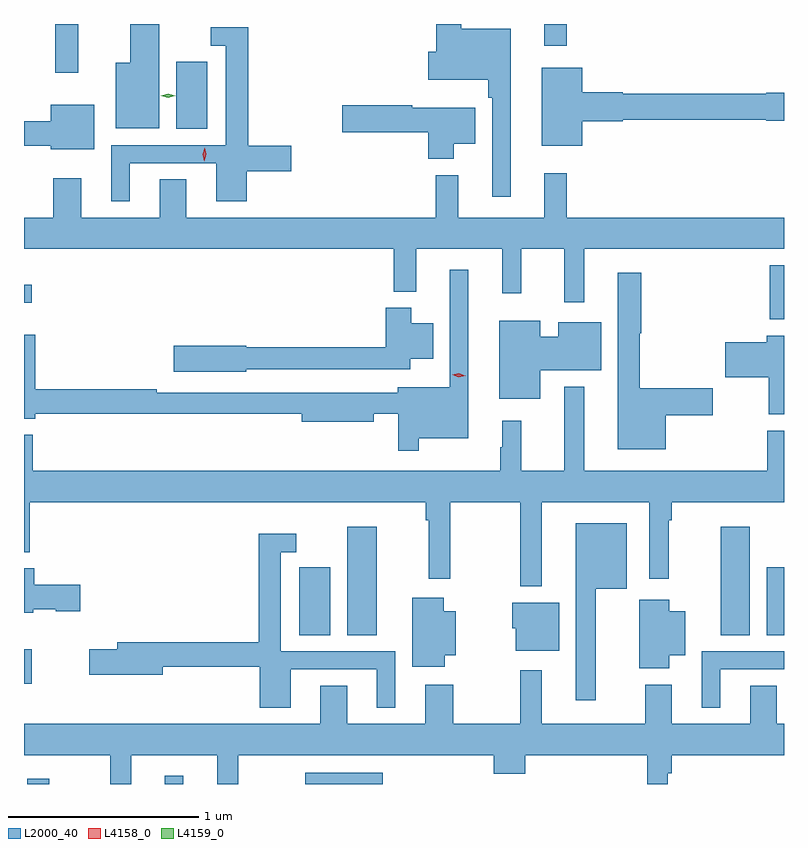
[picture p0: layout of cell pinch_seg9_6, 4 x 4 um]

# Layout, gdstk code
import gdstk
lib = gdstk.Library(unit=1e-6, precision=1e-09)
def R(c, l, rs):  # rectangles x0, y0, x1, y1
    for r in rs: c.add(gdstk.rectangle(r[:2], r[2:], *l))
def P(c, l, *ps):  # polygons
    for p in ps: c.add(gdstk.Polygon(p, *l))
L2000_40 = (2000, 40)
L4158_0 = (4158, 0)
L4159_0 = (4159, 0)

pinch_seg9_6 = lib.new_cell('pinch_seg9_6')
R(pinch_seg9_6, L2000_40, [(1046.795,1232.232,1046.909,1232.26), (1047.518,1232.232,1047.615,1232.275), (1048.257,1232.232,1048.666,1232.292), (1046.777,1232.76,1046.817,1232.942), (1048.226,1233.016,1048.39,1233.373), (1048.478,1233.016,1048.633,1233.586), (1050.443,1233.016,1050.598,1233.586), (1050.686,1233.016,1050.777,1233.373), (1050.701,1234.677,1050.777,1234.963), (1046.777,1234.764,1046.818,1234.86), (1047.578,1235.68,1047.742,1236.034), (1046.941,1235.976,1047.062,1236.232), (1049.516,1236.117,1049.633,1236.232)])
P(pinch_seg9_6, L2000_40, [(1049.338,1236.208),(1049.077,1236.208),(1049.077,1236.232),(1048.948,1236.232),(1048.948,1236.087),(1048.904,1236.087),(1048.904,1235.939),(1049.221,1235.939),(1049.221,1235.843),(1049.241,1235.843),(1049.241,1235.322),(1049.338,1235.322)],
  [(1047.49,1236.232),(1047.335,1236.232),(1047.335,1236.028),(1047.26,1236.028),(1047.26,1235.684),(1047.49,1235.684)],
  [(1047.334,1235.499),(1047.788,1235.499),(1047.788,1235.298),(1047.95,1235.298),(1047.95,1235.456),(1048.183,1235.456),(1048.183,1235.591),(1047.956,1235.591),(1047.956,1236.214),(1047.759,1236.214),(1047.759,1236.117),(1047.84,1236.117),(1047.84,1235.595),(1047.236,1235.595),(1047.236,1235.298),(1047.334,1235.298)],
  [(1049.716,1235.72),(1049.928,1235.72),(1049.928,1235.728),(1050.684,1235.728),(1050.684,1235.723),(1050.777,1235.723),(1050.777,1235.87),(1050.684,1235.87),(1050.684,1235.864),(1049.928,1235.864),(1049.928,1235.872),(1049.716,1235.872),(1049.716,1236.001),(1049.501,1236.001),(1049.501,1235.591),(1049.716,1235.591)],
  [(1047.148,1235.806),(1046.918,1235.806),(1046.918,1235.72),(1046.777,1235.72),(1046.777,1235.592),(1046.918,1235.592),(1046.918,1235.573),(1047.148,1235.573)],
  [(1049.038,1235.603),(1049.152,1235.603),(1049.152,1235.791),(1048.82,1235.791),(1048.82,1235.804),(1048.452,1235.804),(1048.452,1235.662),(1048.904,1235.662),(1048.904,1235.522),(1049.038,1235.522)],
  [(1049.725,1235.048),(1050.777,1235.048),(1050.777,1235.212),(1049.633,1235.212),(1049.633,1235.446),(1049.516,1235.446),(1049.516,1235.212),(1049.063,1235.212),(1049.063,1235.437),(1048.945,1235.437),(1048.945,1235.212),(1047.631,1235.212),(1047.631,1235.414),(1047.491,1235.414),(1047.491,1235.212),(1047.079,1235.212),(1047.079,1235.419),(1046.932,1235.419),(1046.932,1235.212),(1046.777,1235.212),(1046.777,1235.048),(1048.723,1235.048),(1048.723,1234.823),(1048.841,1234.823),(1048.841,1235.048),(1049.294,1235.048),(1049.294,1234.815),(1049.394,1234.815),(1049.394,1235.048),(1049.621,1235.048),(1049.621,1234.767),(1049.725,1234.767)],
  [(1048.855,1234.052),(1049.116,1234.052),(1049.116,1234.939),(1049.019,1234.939),(1049.019,1234.321),(1048.745,1234.321),(1048.745,1234.291),(1048.342,1234.291),(1048.342,1234.29),(1047.476,1234.29),(1047.476,1234.31),(1046.837,1234.31),(1046.837,1234.597),(1046.777,1234.597),(1046.777,1234.154),(1046.837,1234.154),(1046.837,1234.182),(1048.238,1234.182),(1048.238,1234.139),(1048.618,1234.139),(1048.618,1234.182),(1048.746,1234.182),(1048.746,1233.987),(1048.855,1233.987)],
  [(1050.154,1234.174),(1050.403,1234.174),(1050.403,1234.316),(1050.017,1234.316),(1050.017,1234.605),(1050.025,1234.605),(1050.025,1234.924),(1049.903,1234.924),(1049.903,1233.995),(1050.154,1233.995)],
  [(1047.948,1234.416),(1048.81,1234.416),(1048.81,1234.469),(1048.93,1234.469),(1048.93,1234.657),(1048.816,1234.657),(1048.816,1234.738),(1048.682,1234.738),(1048.682,1234.532),(1047.948,1234.532),(1047.948,1234.538),(1047.564,1234.538),(1047.564,1234.403),(1047.948,1234.403)],
  [(1049.494,1234.409),(1049.815,1234.409),(1049.815,1234.663),(1049.588,1234.663),(1049.588,1234.585),(1049.494,1234.585),(1049.494,1234.669),(1049.279,1234.669),(1049.279,1234.259),(1049.494,1234.259)],
  [(1050.777,1234.592),(1050.686,1234.592),(1050.686,1234.556),(1050.468,1234.556),(1050.468,1234.373),(1050.698,1234.373),(1050.698,1234.177),(1050.777,1234.177)],
  [(1049.503,1233.716),(1050.069,1233.716),(1050.069,1233.312),(1050.17,1233.312),(1050.17,1233.62),(1050.185,1233.62),(1050.185,1233.716),(1050.777,1233.716),(1050.777,1234.092),(1050.689,1234.092),(1050.689,1233.88),(1049.725,1233.88),(1049.725,1234.324),(1049.621,1234.324),(1049.621,1233.88),(1049.394,1233.88),(1049.394,1234.144),(1049.294,1234.144),(1049.294,1234.004),(1049.283,1234.004),(1049.283,1233.88),(1046.822,1233.88),(1046.822,1234.069),(1046.777,1234.069),(1046.777,1233.453),(1046.807,1233.453),(1046.807,1233.716),(1048.891,1233.716),(1048.891,1233.62),(1048.906,1233.62),(1048.906,1233.312),(1049.02,1233.312),(1049.02,1233.716),(1049.389,1233.716),(1049.389,1233.272),(1049.503,1233.272)],
  [(1049.785,1233.26),(1049.95,1233.26),(1049.95,1233.604),(1049.681,1233.604),(1049.681,1232.673),(1049.785,1232.673)],
  [(1048.18,1232.835),(1048.634,1232.835),(1048.634,1232.634),(1048.732,1232.634),(1048.732,1232.931),(1048.128,1232.931),(1048.128,1233.453),(1048.21,1233.453),(1048.21,1233.55),(1048.012,1233.55),(1048.012,1232.978),(1047.269,1232.978),(1047.269,1232.942),(1047.12,1232.942),(1047.12,1232.807),(1047.508,1232.807),(1047.508,1232.85),(1048.019,1232.85),(1048.019,1232.634),(1048.18,1232.634)],
  [(1046.826,1233.152),(1046.943,1233.152),(1046.943,1233.14),(1047.073,1233.14),(1047.073,1233.282),(1046.83,1233.282),(1046.83,1233.367),(1046.777,1233.367),(1046.777,1233.134),(1046.826,1233.134)],
  [(1048.991,1232.909),(1049.05,1232.909),(1049.05,1233.142),(1048.986,1233.142),(1048.986,1233.211),(1048.82,1233.211),(1048.82,1232.85),(1048.991,1232.85)],
  [(1050.172,1232.909),(1050.256,1232.909),(1050.256,1233.142),(1050.172,1233.142),(1050.172,1233.202),(1050.014,1233.202),(1050.014,1232.841),(1050.172,1232.841)],
  [(1049.593,1233.187),(1049.348,1233.187),(1049.348,1233.051),(1049.366,1233.051),(1049.366,1232.933),(1049.593,1232.933)],
  [(1050.442,1232.835),(1050.777,1232.835),(1050.777,1232.931),(1050.344,1232.931),(1050.344,1232.634),(1050.442,1232.634)],
  [(1047.341,1232.384),(1047.794,1232.384),(1047.794,1232.232),(1047.904,1232.232),(1047.904,1232.384),(1049.249,1232.384),(1049.249,1232.285),(1049.414,1232.285),(1049.414,1232.384),(1050.057,1232.384),(1050.057,1232.232),(1050.165,1232.232),(1050.165,1232.288),(1050.185,1232.288),(1050.185,1232.384),(1050.777,1232.384),(1050.777,1232.548),(1050.739,1232.548),(1050.739,1232.75),(1050.599,1232.75),(1050.599,1232.548),(1050.187,1232.548),(1050.187,1232.755),(1050.047,1232.755),(1050.047,1232.548),(1049.503,1232.548),(1049.503,1232.83),(1049.389,1232.83),(1049.389,1232.548),(1049.037,1232.548),(1049.037,1232.755),(1048.889,1232.755),(1048.889,1232.548),(1048.477,1232.548),(1048.477,1232.75),(1048.337,1232.75),(1048.337,1232.548),(1046.777,1232.548),(1046.777,1232.384),(1047.231,1232.384),(1047.231,1232.232),(1047.341,1232.232)])
P(pinch_seg9_6, L4158_0, [(1049.065,1234.373),(1049.03,1234.385),(1049.029,1234.385),(1049.03,1234.385),(1049.066,1234.393),(1049.1,1234.382),(1049.101,1234.382),(1049.1,1234.382)],
  [(1047.725,1235.51),(1047.717,1235.547),(1047.728,1235.582),(1047.729,1235.582),(1047.729,1235.582),(1047.737,1235.546),(1047.726,1235.51),(1047.726,1235.51)])
P(pinch_seg9_6, L4159_0, [(1047.535,1235.845),(1047.497,1235.855),(1047.496,1235.855),(1047.497,1235.855),(1047.535,1235.865),(1047.573,1235.855),(1047.573,1235.855),(1047.573,1235.855)])

lib.write_gds('pinch_seg9_6.gds')
